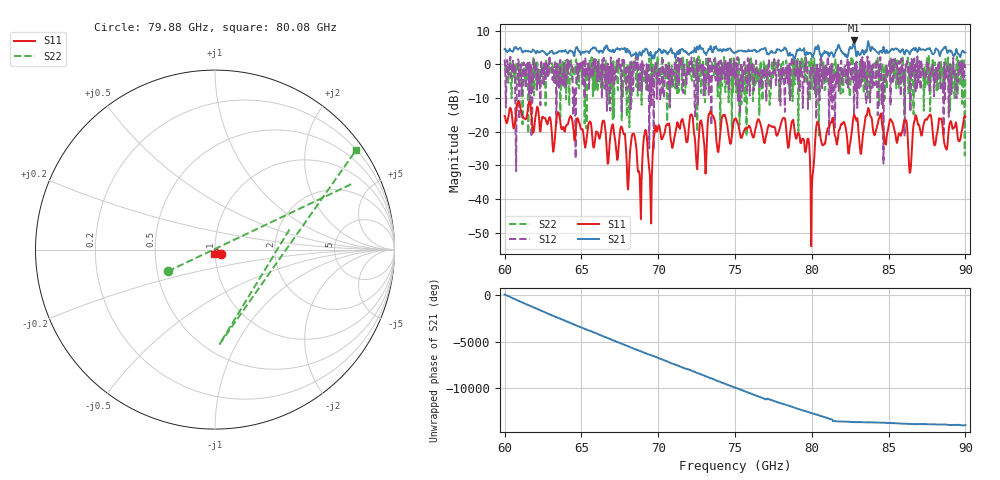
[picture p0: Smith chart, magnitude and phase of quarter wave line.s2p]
!Created with skrf (http://scikit-rf.org).
# GHz S RI R 50.0
!freq ReS11 ImS11 ReS21 ImS21 ReS12 ImS12 ReS22 ImS22
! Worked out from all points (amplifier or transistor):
!   721 points, 60 GHz to 90 GHz, reference 50 ohm
!   highest |S21| = 7.1 dB at 82.75 GHz (marker M1)
!   |S21| within 3 dB of that: 86.92 GHz to 87.74 GHz (819.2 MHz wide, 0.938 % of centre)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
!   unconditionally stable (mu >= 1): 60.69322 GHz to 60.74319 GHz; 61.74871 GHz to 61.81085 GHz; 83.49477 GHz to 83.55063 GHz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
!   at 65 GHz: K = 0.77, MSG = 1.2 dB, |S12| = 0.8 dB
!   at 75 GHz: K = 0.68, MSG = 3.9 dB, |S12| = -4.3 dB
!   at 90 GHz: K = 0.94, MSG = 2.3 dB, |S12| = -1.1 dB
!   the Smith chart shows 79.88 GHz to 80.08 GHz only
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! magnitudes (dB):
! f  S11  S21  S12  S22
! 60 GHz  -15.3  4.5  1.4  -1.8
! 60.83 GHz  -11.5  4.4  -4.2  -1.4
! 64.29 GHz  -15.4  4.0  -0.4  -3.3
! 64.54 GHz  -22.5  2.4  -7.4  -2.3
! 65 GHz  -19.4  3.1  0.8  -1.2
! 67.67 GHz  -19.1  4.7  1.4  -4.8
! 68.04 GHz  -37.2  3.9  -1.0  -1.3
! 68.42 GHz  -20.7  2.8  0.8  -0.8
! 68.79 GHz  -33.1  3.7  -5.2  -8.1
! 69.12 GHz  -20.4  4.2  -3.0  -2.1
! 69.5 GHz  -40.4  3.7  -4.1  -5.4
! 70 GHz  -18.6  4.0  -2.2  -5.0
! 75 GHz  -16.4  3.5  -4.3  -3.8
! 78.75 GHz  -16.8  2.9  0.8  -11.0
! 80 GHz  -37.0  2.7  -3.1  -7.3
! 80.38 GHz  -17.0  4.9  -3.9  -7.8
! 82.75 GHz  -14.8  7.1  -14.8  -1.5
! 85 GHz  -18.5  3.5  -1.6  -2.9
! 86.08 GHz  -16.5  3.5  -4.2  -3.1
! 86.42 GHz  -32.0  3.4  -14.0  -13.6
! 86.75 GHz  -15.1  4.9  -8.1  -7.8
! 90 GHz  -15.5  3.5  -1.1  -3.1
